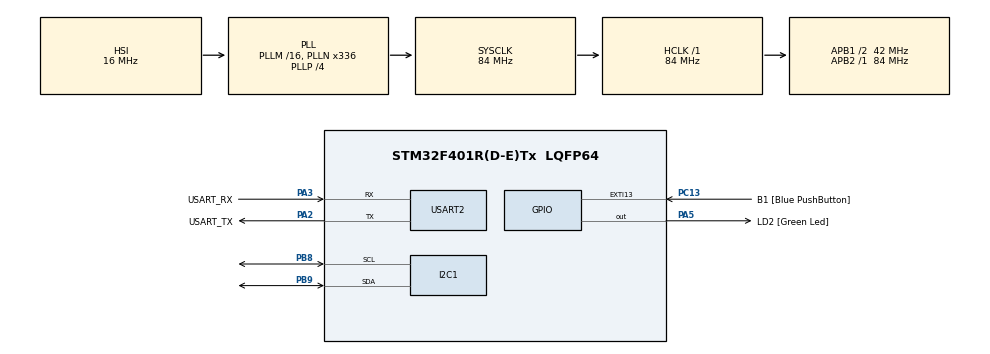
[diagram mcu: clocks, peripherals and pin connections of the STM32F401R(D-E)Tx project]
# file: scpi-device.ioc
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Mcu.Family=STM32F4
Mcu.Name=STM32F401R(D-E)Tx
Mcu.Package=LQFP64
NVIC.PriorityGroup=NVIC_PRIORITYGROUP_4
PA13.GPIO_Label=TMS
PA13.Mode=Trace_Asynchronous_SW
PA13.Signal=SYS_JTMS-SWDIO
PA14.GPIO_Label=TCK
PA14.Mode=Trace_Asynchronous_SW
PA14.Signal=SYS_JTCK-SWCLK
PA2.GPIO_Label=USART_TX
PA2.GPIO_Mode=GPIO_MODE_AF_PP
PA2.GPIO_PuPd=GPIO_NOPULL
PA2.GPIO_Speed=GPIO_SPEED_FREQ_LOW
PA2.Mode=Asynchronous
PA2.Signal=USART2_TX
PA3.GPIO_Label=USART_RX
PA3.GPIO_Mode=GPIO_MODE_AF_PP
PA3.GPIO_PuPd=GPIO_NOPULL
PA3.GPIO_Speed=GPIO_SPEED_FREQ_LOW
PA3.Mode=Asynchronous
PA3.Signal=USART2_RX
PA5.GPIO_Label=LD2 [Green Led]
PA5.GPIO_Mode=GPIO_MODE_OUTPUT_PP
PA5.GPIO_PuPd=GPIO_NOPULL
PA5.GPIO_Speed=GPIO_SPEED_FREQ_LOW
PA5.Signal=GPIO_Output
PB3.GPIO_Label=SWO
PB3.Mode=Trace_Asynchronous_SW
PB3.Signal=SYS_JTDO-SWO
PB8.Mode=I2C
PB8.Signal=I2C1_SCL
PB9.Mode=I2C
PB9.Signal=I2C1_SDA
PC13-ANTI_TAMP.GPIO_Label=B1 [Blue PushButton]
PC13-ANTI_TAMP.GPIO_ModeDefaultEXTI=GPIO_MODE_IT_FALLING
PC13-ANTI_TAMP.GPIO_PuPd=GPIO_NOPULL
PC13-ANTI_TAMP.Signal=GPXTI13
PC14-OSC32_IN.Mode=LSE-External-Oscillator
PC14-OSC32_IN.Signal=RCC_OSC32_IN
PC15-OSC32_OUT.Mode=LSE-External-Oscillator
PC15-OSC32_OUT.Signal=RCC_OSC32_OUT
PH0\ -\ OSC_IN.Mode=HSE-External-Clock-Source
PH0\ -\ OSC_IN.Signal=RCC_OSC_IN
PH1\ -\ OSC_OUT.Mode=HSE-External-Clock-Source
PH1\ -\ OSC_OUT.Signal=RCC_OSC_OUT
ProjectManager.HeapSize=0x200
ProjectManager.StackSize=0x400
ProjectManager.TargetToolchain=CMake
RCC.48MHZClocksFreq_Value=48000000
RCC.AHBFreq_Value=84000000
RCC.APB1CLKDivider=RCC_HCLK_DIV2
RCC.APB1Freq_Value=42000000
RCC.APB1TimFreq_Value=84000000
RCC.APB2Freq_Value=84000000
RCC.APB2TimFreq_Value=84000000
RCC.CortexFreq_Value=84000000
RCC.HCLKFreq_Value=84000000
RCC.HSE_VALUE=8000000
RCC.HSI_VALUE=16000000
RCC.PLLN=336
RCC.PLLP=RCC_PLLP_DIV4
RCC.PLLQ=7
RCC.SYSCLKFreq_VALUE=84000000
RCC.SYSCLKSource=RCC_SYSCLKSOURCE_PLLCLK
RCC.VCOOutputFreq_Value=336000000
USART2.VirtualMode=VM_ASYNC
board=NUCLEO-F401RE

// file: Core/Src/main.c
/* USER CODE BEGIN Header */
/**
  ******************************************************************************
  * @file           : main.c
  * @brief          : Main program body
  ******************************************************************************
  * @attention
  *
  * Copyright (c) 2025 STMicroelectronics.
  * All rights reserved.
  *
  * This software is licensed under terms that can be found in the LICENSE file
  * in the root directory of this software component.
  * If no LICENSE file comes with this software, it is provided AS-IS.
  *
  ******************************************************************************
  */
/* USER CODE END Header */
#include "main.h"

I2C_HandleTypeDef hi2c1;

UART_HandleTypeDef huart2;

void SystemClock_Config(void);
static void MX_GPIO_Init(void);
static void MX_USART2_UART_Init(void);
static void MX_I2C1_Init(void);

/* USER CODE BEGIN 0 */

#include <stdio.h>
#include <stdlib.h>
#include <string.h>
#include "scpi/scpi.h"
#include "scpi-def.h"

size_t SCPI_Write(scpi_t * context, const char * data, size_t len) {
    (void) context;
    return fwrite(data, 1, len, stdout);
}

scpi_result_t SCPI_Flush(scpi_t * context) {
    (void) context;
    return SCPI_RES_OK;
}

int SCPI_Error(scpi_t * context, int_fast16_t err) {
    (void) context;

    fprintf(stderr, "**ERROR: %d, \"%s\"\r\n", (int16_t) err, SCPI_ErrorTranslate(err));
    return 0;
}

scpi_result_t SCPI_Control(scpi_t * context, scpi_ctrl_name_t ctrl, scpi_reg_val_t val) {
    (void) context;

    if (SCPI_CTRL_SRQ == ctrl) {
        fprintf(stderr, "**SRQ: 0x%X (%d)\r\n", val, val);
    } else {
        fprintf(stderr, "**CTRL %02x: 0x%X (%d)\r\n", ctrl, val, val);
    }
    return SCPI_RES_OK;
}

scpi_result_t SCPI_Reset(scpi_t * context) {
    (void) context;

    fprintf(stderr, "**Reset\r\n");
    return SCPI_RES_OK;
}

scpi_result_t SCPI_SystemCommTcpipControlQ(scpi_t * context) {
    (void) context;

    return SCPI_RES_ERR;
}

/*
 *
 */
/* USER CODE END 0 */

int main(void)
{

  /* MCU Configuration--------------------------------------------------------*/

  /* Reset of all peripherals, Initializes the Flash interface and the Systick. */
  HAL_Init();

  /* Configure the system clock */
  SystemClock_Config();

  /* Initialize all configured peripherals */
  MX_GPIO_Init();
  MX_USART2_UART_Init();
  MX_I2C1_Init();
  /* USER CODE BEGIN 2 */

  SCPI_Init(&scpi_context,
    scpi_commands,
    &scpi_interface,
    scpi_units_def,
    SCPI_IDN1, SCPI_IDN2, SCPI_IDN3, SCPI_IDN4,
    scpi_input_buffer, SCPI_INPUT_BUFFER_LENGTH,
    scpi_error_queue_data, SCPI_ERROR_QUEUE_SIZE);
  /* USER CODE END 2 */

  /* Infinite loop */
  /* USER CODE BEGIN WHILE */
  while (1)
  { HAL_GPIO_TogglePin(LD2_GPIO_Port,LD2_Pin);
    HAL_Delay(1000);
    /* USER CODE END WHILE */

  }
}

void SystemClock_Config(void)
{
  RCC_OscInitTypeDef RCC_OscInitStruct = {0};
  RCC_ClkInitTypeDef RCC_ClkInitStruct = {0};

  /** Configure the main internal regulator output voltage
  */
  __HAL_RCC_PWR_CLK_ENABLE();
  __HAL_PWR_VOLTAGESCALING_CONFIG(PWR_REGULATOR_VOLTAGE_SCALE2);

  /** Initializes the RCC Oscillators according to the specified parameters
  * in the RCC_OscInitTypeDef structure.
  */
  RCC_OscInitStruct.OscillatorType = RCC_OSCILLATORTYPE_HSI;
  RCC_OscInitStruct.HSIState = RCC_HSI_ON;
  RCC_OscInitStruct.HSICalibrationValue = RCC_HSICALIBRATION_DEFAULT;
  RCC_OscInitStruct.PLL.PLLState = RCC_PLL_ON;
  RCC_OscInitStruct.PLL.PLLSource = RCC_PLLSOURCE_HSI;
  RCC_OscInitStruct.PLL.PLLM = 16;
  RCC_OscInitStruct.PLL.PLLN = 336;
  RCC_OscInitStruct.PLL.PLLP = RCC_PLLP_DIV4;
  RCC_OscInitStruct.PLL.PLLQ = 7;
  if (HAL_RCC_OscConfig(&RCC_OscInitStruct) != HAL_OK)
  {
    Error_Handler();
  }

  /** Initializes the CPU, AHB and APB buses clocks
  */
  RCC_ClkInitStruct.ClockType = RCC_CLOCKTYPE_HCLK|RCC_CLOCKTYPE_SYSCLK
                              |RCC_CLOCKTYPE_PCLK1|RCC_CLOCKTYPE_PCLK2;
  RCC_ClkInitStruct.SYSCLKSource = RCC_SYSCLKSOURCE_PLLCLK;
  RCC_ClkInitStruct.AHBCLKDivider = RCC_SYSCLK_DIV1;
  RCC_ClkInitStruct.APB1CLKDivider = RCC_HCLK_DIV2;
  RCC_ClkInitStruct.APB2CLKDivider = RCC_HCLK_DIV1;

  if (HAL_RCC_ClockConfig(&RCC_ClkInitStruct, FLASH_LATENCY_2) != HAL_OK)
  {
    Error_Handler();
  }
}

static void MX_I2C1_Init(void)
{

  hi2c1.Instance = I2C1;
  hi2c1.Init.ClockSpeed = 100000;
  hi2c1.Init.DutyCycle = I2C_DUTYCYCLE_2;
  hi2c1.Init.OwnAddress1 = 0;
  hi2c1.Init.AddressingMode = I2C_ADDRESSINGMODE_7BIT;
  hi2c1.Init.DualAddressMode = I2C_DUALADDRESS_DISABLE;
  hi2c1.Init.OwnAddress2 = 0;
  hi2c1.Init.GeneralCallMode = I2C_GENERALCALL_DISABLE;
  hi2c1.Init.NoStretchMode = I2C_NOSTRETCH_DISABLE;
  if (HAL_I2C_Init(&hi2c1) != HAL_OK)
  {
    Error_Handler();
  }

}

static void MX_USART2_UART_Init(void)
{

  huart2.Instance = USART2;
  huart2.Init.BaudRate = 115200;
  huart2.Init.WordLength = UART_WORDLENGTH_8B;
  huart2.Init.StopBits = UART_STOPBITS_1;
  huart2.Init.Parity = UART_PARITY_NONE;
  huart2.Init.Mode = UART_MODE_TX_RX;
  huart2.Init.HwFlowCtl = UART_HWCONTROL_NONE;
  huart2.Init.OverSampling = UART_OVERSAMPLING_16;
  if (HAL_UART_Init(&huart2) != HAL_OK)
  {
    Error_Handler();
  }

}

static void MX_GPIO_Init(void)
{
  GPIO_InitTypeDef GPIO_InitStruct = {0};

  /* GPIO Ports Clock Enable */
  __HAL_RCC_GPIOC_CLK_ENABLE();
  __HAL_RCC_GPIOH_CLK_ENABLE();
  __HAL_RCC_GPIOA_CLK_ENABLE();
  __HAL_RCC_GPIOB_CLK_ENABLE();

  /*Configure GPIO pin Output Level */
  HAL_GPIO_WritePin(LD2_GPIO_Port, LD2_Pin, GPIO_PIN_RESET);

  /*Configure GPIO pin : B1_Pin */
  GPIO_InitStruct.Pin = B1_Pin;
  GPIO_InitStruct.Mode = GPIO_MODE_IT_FALLING;
  GPIO_InitStruct.Pull = GPIO_NOPULL;
  HAL_GPIO_Init(B1_GPIO_Port, &GPIO_InitStruct);

  /*Configure GPIO pin : LD2_Pin */
  GPIO_InitStruct.Pin = LD2_Pin;
  GPIO_InitStruct.Mode = GPIO_MODE_OUTPUT_PP;
  GPIO_InitStruct.Pull = GPIO_NOPULL;
  GPIO_InitStruct.Speed = GPIO_SPEED_FREQ_LOW;
  HAL_GPIO_Init(LD2_GPIO_Port, &GPIO_InitStruct);

}

void Error_Handler(void)
{
  __disable_irq();
  while (1)
  {
  }
}
